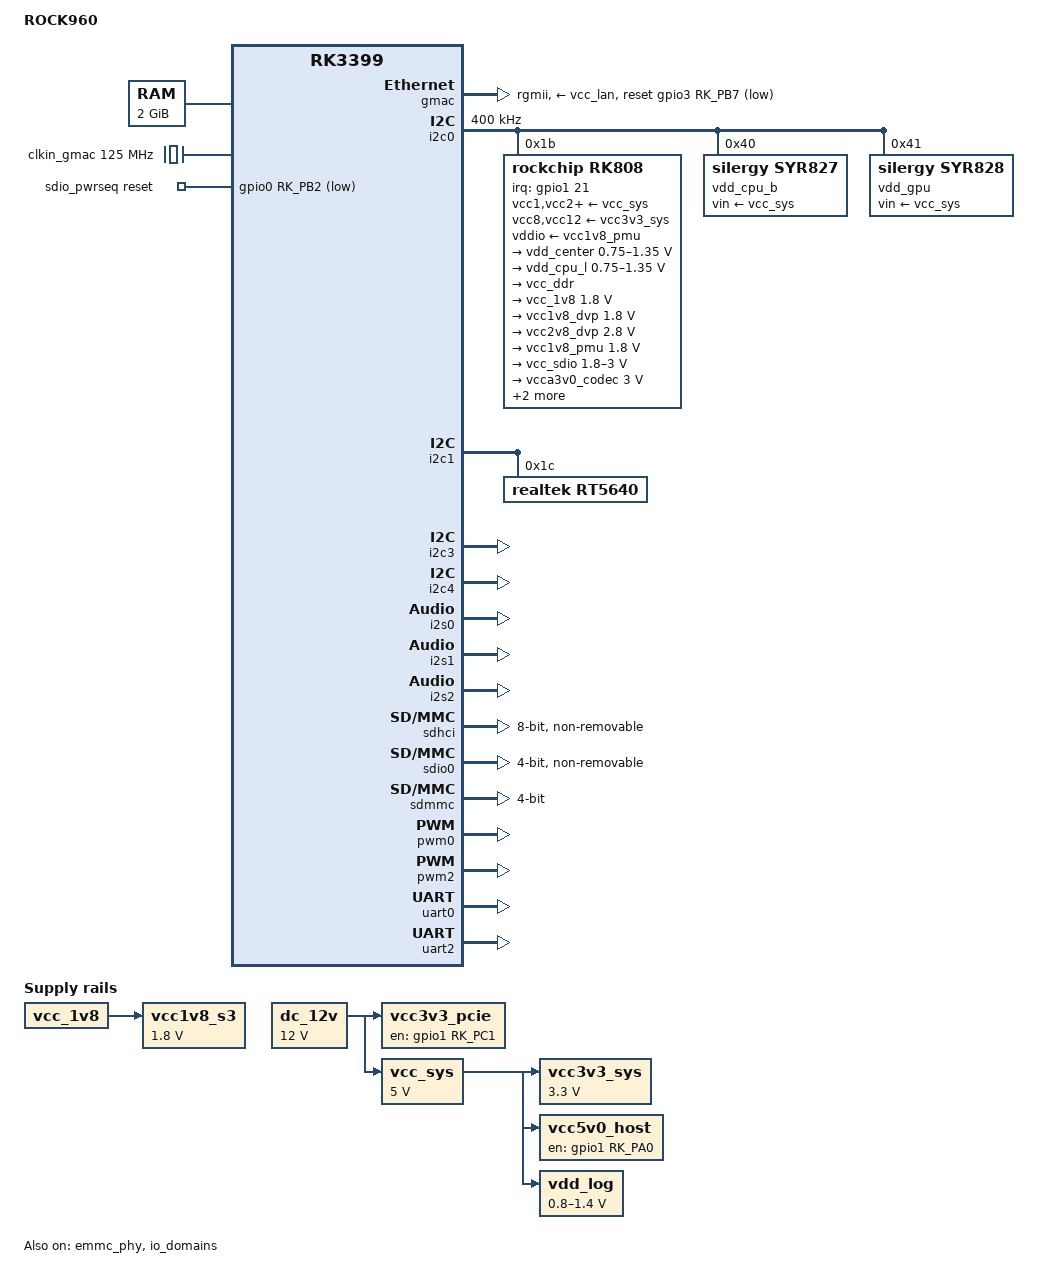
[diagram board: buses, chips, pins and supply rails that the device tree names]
/*
 * Copyright (c) 2018 Linaro Ltd.
 *
 * SPDX-License-Identifier: (GPL-2.0-or-later OR X11)
 */

/dts-v1/;
#include "rk3399.dtsi"

/ {
	model = "ROCK960";
	compatible = "vamrs,rock960", "rockchip,rk3399";

	chosen {
		stdout-path = "serial2:115200n8";
	};

	memory {
		device_type = "memory";
		reg = <0x0 0x0 0x0 0x80000000>;
	};

	clkin_gmac: external-gmac-clock {
		compatible = "fixed-clock";
		clock-frequency = <125000000>;
		clock-output-names = "clkin_gmac";
		#clock-cells = <0>;
	};

	dc_12v: dc-12v {
		compatible = "regulator-fixed";
		regulator-name = "dc_12v";
		regulator-always-on;
		regulator-boot-on;
		regulator-min-microvolt = <12000000>;
		regulator-max-microvolt = <12000000>;
	};

	sdio_pwrseq: sdio-pwrseq {
		compatible = "mmc-pwrseq-simple";
		clocks = <&rk808 1>;
		clock-names = "ext_clock";
		pinctrl-names = "default";
		pinctrl-0 = <&wifi_enable_h>;

		/*
		 * On the module itself this is one of these (depending
		 * on the actual card populated):
		 * - SDIO_RESET_L_WL_REG_ON
		 * - PDN (power down when low)
		 */
		reset-gpios = <&gpio0 RK_PB2 GPIO_ACTIVE_LOW>;
	};

	/* switched by pmic_sleep */
	vcc1v8_s3: vcc1v8-s3 {
		compatible = "regulator-fixed";
		regulator-name = "vcc1v8_s3";
		regulator-always-on;
		regulator-boot-on;
		regulator-min-microvolt = <1800000>;
		regulator-max-microvolt = <1800000>;
		vin-supply = <&vcc_1v8>;
	};

	vcc3v3_pcie: vcc3v3-pcie-regulator {
		compatible = "regulator-fixed";
		enable-active-high;
		gpio = <&gpio1 RK_PC1 GPIO_ACTIVE_HIGH>;
		pinctrl-names = "default";
		pinctrl-0 = <&pcie_pwr_en>;
		regulator-name = "vcc3v3_pcie";
		regulator-always-on;
		regulator-boot-on;
		vin-supply = <&dc_12v>;
	};

	vcc3v3_sys: vcc3v3-sys {
		compatible = "regulator-fixed";
		regulator-name = "vcc3v3_sys";
		regulator-always-on;
		regulator-boot-on;
		regulator-min-microvolt = <3300000>;
		regulator-max-microvolt = <3300000>;
		vin-supply = <&vcc_sys>;
	};

	/* Actually 3 regulators (host0, 1, 2) controlled by the same gpio */
	vcc5v0_host: vcc5v0-host-regulator {
		compatible = "regulator-fixed";
		enable-active-high;
		gpio = <&gpio1 RK_PA0 GPIO_ACTIVE_HIGH>;
		pinctrl-names = "default";
		pinctrl-0 = <&vcc5v0_host_en>;
		regulator-name = "vcc5v0_host";
		regulator-always-on;
		vin-supply = <&vcc_sys>;
	};

	vcc_sys: vcc-sys {
		compatible = "regulator-fixed";
		regulator-name = "vcc_sys";
		regulator-always-on;
		regulator-boot-on;
		regulator-min-microvolt = <5000000>;
		regulator-max-microvolt = <5000000>;
		vin-supply = <&dc_12v>;
	};

	vdd_log: vdd-log {
		compatible = "pwm-regulator";
		pwms = <&pwm2 0 25000 1>;
		regulator-name = "vdd_log";
		regulator-always-on;
		regulator-boot-on;
		regulator-min-microvolt = <800000>;
		regulator-max-microvolt = <1400000>;
		vin-supply = <&vcc_sys>;
	};
};

&emmc_phy {
	status = "okay";
};

&gmac {
	assigned-clocks = <&cru SCLK_RMII_SRC>;
	assigned-clock-parents = <&clkin_gmac>;
	clock_in_out = "input";
	phy-supply = <&vcc_lan>;
	phy-mode = "rgmii";
	pinctrl-names = "default";
	pinctrl-0 = <&rgmii_pins>;
	snps,reset-gpio = <&gpio3 RK_PB7 GPIO_ACTIVE_LOW>;
	snps,reset-active-low;
	snps,reset-delays-us = <0 10000 50000>;
	tx_delay = <0x28>;
	rx_delay = <0x11>;
	status = "okay";
};

&i2c0 {
	clock-frequency = <400000>;
	i2c-scl-rising-time-ns = <168>;
	i2c-scl-falling-time-ns = <4>;
	status = "okay";

	rk808: pmic@1b {
		compatible = "rockchip,rk808";
		reg = <0x1b>;
		interrupt-parent = <&gpio1>;
		interrupts = <21 IRQ_TYPE_LEVEL_LOW>;
		#clock-cells = <1>;
		clock-output-names = "xin32k", "rk808-clkout2";
		pinctrl-names = "default";
		pinctrl-0 = <&pmic_int_l>;
		rockchip,system-power-controller;
		wakeup-source;

		vcc1-supply = <&vcc_sys>;
		vcc2-supply = <&vcc_sys>;
		vcc3-supply = <&vcc_sys>;
		vcc4-supply = <&vcc_sys>;
		vcc6-supply = <&vcc_sys>;
		vcc7-supply = <&vcc_sys>;
		vcc8-supply = <&vcc3v3_sys>;
		vcc9-supply = <&vcc_sys>;
		vcc10-supply = <&vcc_sys>;
		vcc11-supply = <&vcc_sys>;
		vcc12-supply = <&vcc3v3_sys>;
		vddio-supply = <&vcc1v8_pmu>;

		regulators {
			vdd_center: DCDC_REG1 {
				regulator-name = "vdd_center";
				regulator-always-on;
				regulator-boot-on;
				regulator-min-microvolt = <750000>;
				regulator-max-microvolt = <1350000>;
				regulator-ramp-delay = <6001>;
				regulator-state-mem {
					regulator-off-in-suspend;
				};
			};

			vdd_cpu_l: DCDC_REG2 {
				regulator-name = "vdd_cpu_l";
				regulator-always-on;
				regulator-boot-on;
				regulator-min-microvolt = <750000>;
				regulator-max-microvolt = <1350000>;
				regulator-ramp-delay = <6001>;
				regulator-state-mem {
					regulator-off-in-suspend;
				};
			};

			vcc_ddr: DCDC_REG3 {
				regulator-name = "vcc_ddr";
				regulator-always-on;
				regulator-boot-on;
				regulator-state-mem {
					regulator-on-in-suspend;
				};
			};

			vcc_1v8: DCDC_REG4 {
				regulator-name = "vcc_1v8";
				regulator-always-on;
				regulator-boot-on;
				regulator-min-microvolt = <1800000>;
				regulator-max-microvolt = <1800000>;
				regulator-state-mem {
					regulator-on-in-suspend;
					regulator-suspend-microvolt = <1800000>;
				};
			};

			vcc1v8_dvp: LDO_REG1 {
				regulator-name = "vcc1v8_dvp";
				regulator-always-on;
				regulator-boot-on;
				regulator-min-microvolt = <1800000>;
				regulator-max-microvolt = <1800000>;
				regulator-state-mem {
					regulator-off-in-suspend;
				};
			};

			vcc2v8_dvp: LDO_REG2 {
				regulator-name = "vcc2v8_dvp";
				regulator-always-on;
				regulator-boot-on;
				regulator-min-microvolt = <2800000>;
				regulator-max-microvolt = <2800000>;
				regulator-state-mem {
					regulator-off-in-suspend;
				};
			};

			vcc1v8_pmu: LDO_REG3 {
				regulator-name = "vcc1v8_pmu";
				regulator-always-on;
				regulator-boot-on;
				regulator-min-microvolt = <1800000>;
				regulator-max-microvolt = <1800000>;
				regulator-state-mem {
					regulator-on-in-suspend;
					regulator-suspend-microvolt = <1800000>;
				};
			};

			vcc_sdio: LDO_REG4 {
				regulator-name = "vcc_sdio";
				regulator-always-on;
				regulator-boot-on;
				regulator-min-microvolt = <1800000>;
				regulator-max-microvolt = <3000000>;
				regulator-state-mem {
					regulator-on-in-suspend;
					regulator-suspend-microvolt = <3000000>;
				};
			};

			vcca3v0_codec: LDO_REG5 {
				regulator-name = "vcca3v0_codec";
				regulator-always-on;
				regulator-boot-on;
				regulator-min-microvolt = <3000000>;
				regulator-max-microvolt = <3000000>;
				regulator-state-mem {
					regulator-off-in-suspend;
				};
			};

			vcc_1v5: LDO_REG6 {
				regulator-name = "vcc_1v5";
				regulator-always-on;
				regulator-boot-on;
				regulator-min-microvolt = <1500000>;
				regulator-max-microvolt = <1500000>;
				regulator-state-mem {
					regulator-on-in-suspend;
					regulator-suspend-microvolt = <1500000>;
				};
			};

			vcca1v8_codec: LDO_REG7 {
				regulator-name = "vcca1v8_codec";
				regulator-always-on;
				regulator-boot-on;
				regulator-min-microvolt = <1800000>;
				regulator-max-microvolt = <1800000>;
				regulator-state-mem {
					regulator-off-in-suspend;
				};
			};

			vcc_3v0: LDO_REG8 {
				regulator-name = "vcc_3v0";
				regulator-always-on;
				regulator-boot-on;
				regulator-min-microvolt = <3000000>;
				regulator-max-microvolt = <3000000>;
				regulator-state-mem {
					regulator-on-in-suspend;
					regulator-suspend-microvolt = <3000000>;
				};
			};

			vcc3v3_s3: vcc_lan: SWITCH_REG1 {
				regulator-name = "vcc3v3_s3";
				regulator-always-on;
				regulator-boot-on;
				regulator-state-mem {
					regulator-off-in-suspend;
				};
			};

			vcc3v3_s0: SWITCH_REG2 {
				regulator-name = "vcc3v3_s0";
				regulator-always-on;
				regulator-boot-on;
				regulator-state-mem {
					regulator-off-in-suspend;
				};
			};
		};
	};

	vdd_cpu_b: regulator@40 {
		compatible = "silergy,syr827";
		reg = <0x40>;
		fcs,suspend-voltage-selector = <0>;
		regulator-name = "vdd_cpu_b";
		regulator-min-microvolt = <712500>;
		regulator-max-microvolt = <1500000>;
		regulator-ramp-delay = <1000>;
		regulator-always-on;
		regulator-boot-on;
		vin-supply = <&vcc_sys>;

		regulator-state-mem {
			regulator-off-in-suspend;
		};
	};

	vdd_gpu: regulator@41 {
		compatible = "silergy,syr828";
		reg = <0x41>;
		fcs,suspend-voltage-selector = <1>;
		regulator-name = "vdd_gpu";
		regulator-min-microvolt = <712500>;
		regulator-max-microvolt = <1500000>;
		regulator-ramp-delay = <1000>;
		regulator-always-on;
		regulator-boot-on;
		vin-supply = <&vcc_sys>;

		regulator-state-mem {
			regulator-off-in-suspend;
		};
	};
};

&i2c1 {
	i2c-scl-rising-time-ns = <300>;
	i2c-scl-falling-time-ns = <15>;
	status = "okay";

	rt5640: rt5640@1c {
		compatible = "realtek,rt5640";
		reg = <0x1c>;
		clocks = <&cru SCLK_I2S_8CH_OUT>;
		clock-names = "mclk";
		realtek,in1-differential;
		#sound-dai-cells = <0>;
		pinctrl-names = "default";
		pinctrl-0 = <&rt5640_hpcon>;
	};
};

&i2c3 {
	i2c-scl-rising-time-ns = <450>;
	i2c-scl-falling-time-ns = <15>;
	status = "okay";
};

&i2c4 {
	i2c-scl-rising-time-ns = <600>;
	i2c-scl-falling-time-ns = <20>;
	status = "okay";
};

&i2s0 {
	rockchip,playback-channels = <8>;
	rockchip,capture-channels = <8>;
	#sound-dai-cells = <0>;
	status = "okay";
};

&i2s1 {
	rockchip,playback-channels = <2>;
	rockchip,capture-channels = <2>;
	#sound-dai-cells = <0>;
	status = "okay";
};

&i2s2 {
	#sound-dai-cells = <0>;
	status = "okay";
};

&io_domains {
	status = "okay";

	bt656-supply = <&vcc1v8_dvp>;
	audio-supply = <&vcca1v8_codec>;
	sdmmc-supply = <&vcc_sdio>;
	gpio1830-supply = <&vcc_3v0>;
};

&pinctrl {
	buttons {
		pwrbtn: pwrbtn {
			rockchip,pins = <0 RK_PA5 RK_FUNC_GPIO &pcfg_pull_up>;
		};
	};

	pcie {
		pcie_pwr_en: pcie-pwr-en {
			rockchip,pins = <1 RK_PC1 RK_FUNC_GPIO &pcfg_pull_none>;
		};

		pcie_3g_drv: pcie-3g-drv {
			rockchip,pins = <0 RK_PA2 RK_FUNC_GPIO &pcfg_pull_up>;
		};
	};

	pmic {
		vsel1_gpio: vsel1-gpio {
			rockchip,pins = <1 RK_PC2 RK_FUNC_GPIO &pcfg_pull_down>;
		};

		vsel2_gpio: vsel2-gpio {
			rockchip,pins = <1 RK_PB6 RK_FUNC_GPIO &pcfg_pull_down>;
		};

		pmic_int_l: pmic-int-l {
			rockchip,pins = <1 RK_PC5 RK_FUNC_GPIO &pcfg_pull_up>;
		};
	};

	sdio-pwrseq {
		wifi_enable_h: wifi-enable-h {
			rockchip,pins = <0 RK_PB2 RK_FUNC_GPIO &pcfg_pull_none>;
		};
	};

	rt5640 {
		rt5640_hpcon: rt5640-hpcon {
			rockchip,pins = <4 RK_PC5 RK_FUNC_GPIO &pcfg_pull_none>;
		};
	};

	usb2 {
		vcc5v0_host_en: vcc5v0-host-en {
			rockchip,pins = <1 RK_PA0 RK_FUNC_GPIO &pcfg_pull_none>;
		};
	};
};

&pmu_io_domains {
	status = "okay";
	pmu1830-supply = <&vcc_1v8>;
};

&sdhci {
	bus-width = <8>;
	mmc-hs400-1_8v;
	supports-emmc;
	non-removable;
	mmc-hs400-enhanced-strobe;
	status = "okay";
};

&sdio0 {
	clock-frequency = <100000000>;
	clock-freq-min-max = <200000 100000000>;
	supports-sdio;
	bus-width = <4>;
	disable-wp;
	cap-sd-highspeed;
	cap-sdio-irq;
	keep-power-in-suspend;
	mmc-pwrseq = <&sdio_pwrseq>;
	non-removable;
	num-slots = <1>;
	pinctrl-names = "default";
	pinctrl-0 = <&sdio0_bus4 &sdio0_cmd &sdio0_clk>;
	sd-uhs-sdr104;
	status = "okay";
};

&sdmmc {
	clock-frequency = <100000000>;
	clock-freq-min-max = <100000 100000000>;
	supports-sd;
	bus-width = <4>;
	cap-mmc-highspeed;
	cap-sd-highspeed;
	disable-wp;
	num-slots = <1>;
	vqmmc-supply = <&vcc_sdio>;
	pinctrl-names = "default";
	pinctrl-0 = <&sdmmc_clk &sdmmc_cmd &sdmmc_cd &sdmmc_bus4>;
	card-detect-delay = <800>;
	status = "okay";
};

&pwm0 {
	status = "okay";
};

&pwm2 {
	status = "okay";
};

&uart0 {
	pinctrl-names = "default";
	pinctrl-0 = <&uart0_xfer &uart0_cts>;
	status = "okay";
};

&uart2 {
	status = "okay";
};
